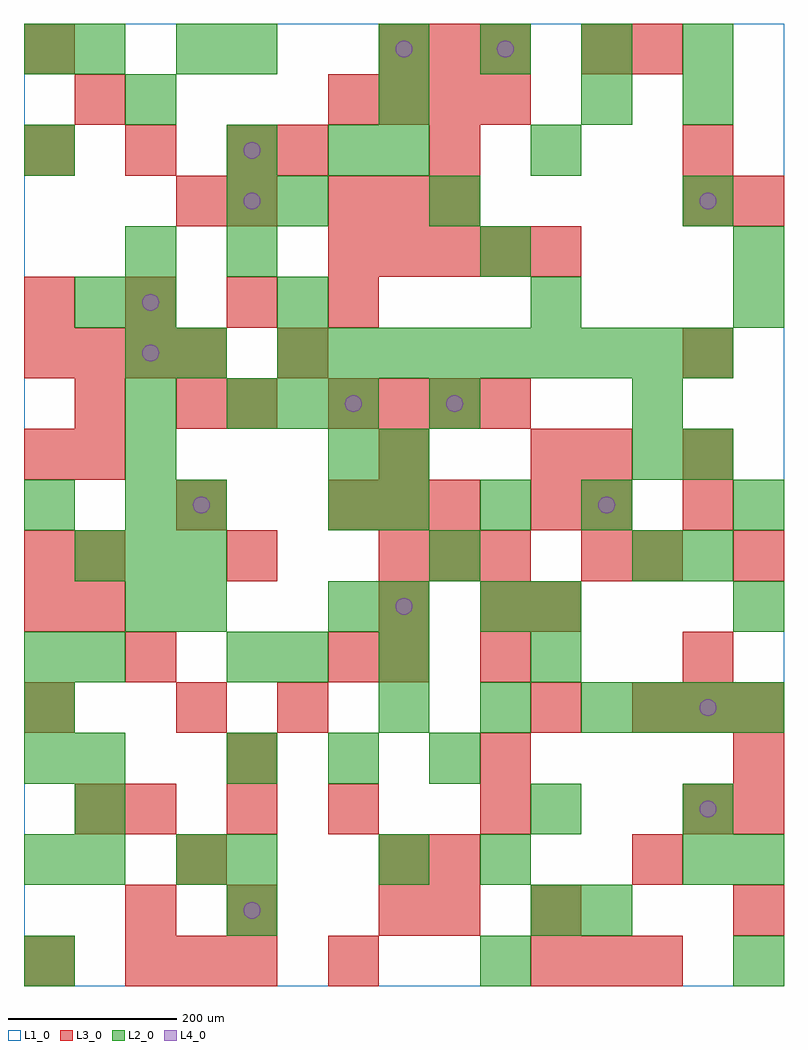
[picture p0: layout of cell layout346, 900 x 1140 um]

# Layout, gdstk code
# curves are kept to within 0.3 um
import gdstk
lib = gdstk.Library(unit=1e-6, precision=1e-09)
def R(c, l, rs):  # rectangles x0, y0, x1, y1
    for r in rs: c.add(gdstk.rectangle(r[:2], r[2:], *l))
def A(c, l, x, y, w, h, nx, ny, dx, dy):  # array of equal rectangles
    R(c, l, [(x+i*dx, y+j*dy, x+i*dx+w, y+j*dy+h) for i in range(nx) for j in range(ny)])
def P(c, l, *ps):  # polygons
    for p in ps: c.add(gdstk.Polygon(p, *l))
L1_0 = (1, 0)
L2_0 = (2, 0)
L3_0 = (3, 0)
L4_0 = (4, 0)

layout346 = lib.new_cell('layout346')
R(layout346, L1_0, [(0,0,900,1140)])
A(layout346, L2_0, 0, 0, 60, 60, 1, 3, 0, 120)
A(layout346, L2_0, 60, 120, 60, 60, 1, 3, 0, 60)
A(layout346, L2_0, 240, 240, 60, 60, 3, 1, 120, 0)
A(layout346, L2_0, 420, 300, 60, 60, 3, 2, 120, 240)
A(layout346, L2_0, 720, 300, 60, 60, 3, 1, 60, 0)
A(layout346, L2_0, 60, 480, 60, 60, 3, 1, 60, 0)
A(layout346, L2_0, 120, 540, 60, 60, 1, 6, 0, 60)
A(layout346, L2_0, 240, 660, 60, 60, 3, 1, 60, 0)
A(layout346, L2_0, 300, 720, 60, 60, 9, 1, 60, 0)
A(layout346, L2_0, 240, 840, 60, 60, 3, 1, 300, 0)
A(layout346, L2_0, 420, 1080, 60, 60, 4, 1, 120, 0)
R(layout346, L2_0, [(540,0,600,60), (840,0,900,60), (240,60,300,120), (600,60,660,120), (660,60,720,120), (180,120,240,180), (240,120,300,180), (420,120,480,180), (540,120,600,180), (780,120,840,180), (840,120,900,180), (600,180,660,240), (780,180,840,240), (0,300,60,360), (0,360,60,420), (60,360,120,420), (240,360,300,420), (300,360,360,420), (420,360,480,420), (600,360,660,420), (120,420,180,480), (180,420,240,480), (360,420,420,480), (420,420,480,480), (540,420,600,480), (600,420,660,480), (840,420,900,480), (480,480,540,540), (720,480,780,540), (780,480,840,540), (0,540,60,600), (180,540,240,600), (360,540,420,600), (840,540,900,600), (360,600,420,660), (420,600,480,660), (720,600,780,660), (780,600,840,660), (480,660,540,720), (720,660,780,720), (180,720,240,780), (60,780,120,840), (300,780,360,840), (600,780,660,840), (840,780,900,840), (240,900,300,960), (300,900,360,960), (480,900,540,960), (780,900,840,960), (0,960,60,1020), (240,960,300,1020), (360,960,420,1020), (420,960,480,1020), (600,960,660,1020), (120,1020,180,1080), (420,1020,480,1080), (660,1020,720,1080), (780,1020,840,1080), (0,1080,60,1140), (60,1080,120,1140), (180,1080,240,1140), (240,1080,300,1140)])
A(layout346, L3_0, 120, 0, 60, 60, 3, 1, 60, 0)
A(layout346, L3_0, 600, 0, 60, 60, 3, 1, 60, 0)
A(layout346, L3_0, 120, 180, 60, 60, 3, 1, 120, 0)
A(layout346, L3_0, 780, 180, 60, 60, 1, 3, 0, 180)
A(layout346, L3_0, 240, 240, 60, 60, 3, 1, 300, 0)
A(layout346, L3_0, 600, 300, 60, 60, 1, 3, 0, 120)
A(layout346, L3_0, 720, 300, 60, 60, 3, 1, 60, 0)
A(layout346, L3_0, 540, 360, 60, 60, 1, 3, 0, 60)
A(layout346, L3_0, 60, 480, 60, 60, 3, 1, 180, 0)
A(layout346, L3_0, 660, 480, 60, 60, 1, 3, 0, 60)
A(layout346, L3_0, 360, 540, 60, 60, 3, 2, 60, 360)
A(layout346, L3_0, 360, 660, 60, 60, 4, 2, 60, 360)
A(layout346, L3_0, 0, 720, 60, 60, 4, 1, 60, 0)
A(layout346, L3_0, 0, 780, 60, 60, 4, 1, 120, 0)
A(layout346, L3_0, 360, 840, 60, 60, 5, 1, 60, 0)
A(layout346, L3_0, 0, 960, 60, 60, 3, 1, 120, 0)
A(layout346, L3_0, 420, 1080, 60, 60, 3, 1, 60, 0)
R(layout346, L3_0, [(0,0,60,60), (360,0,420,60), (120,60,180,120), (240,60,300,120), (420,60,480,120), (480,60,540,120), (600,60,660,120), (840,60,900,120), (180,120,240,180), (420,120,480,180), (480,120,540,180), (720,120,780,180), (60,180,120,240), (540,180,600,240), (840,180,900,240), (0,300,60,360), (180,300,240,360), (300,300,360,360), (120,360,180,420), (360,360,420,420), (420,360,480,420), (0,420,60,480), (60,420,120,480), (420,420,480,480), (0,480,60,540), (480,480,540,540), (720,480,780,540), (840,480,900,540), (180,540,240,600), (0,600,60,660), (60,600,120,660), (420,600,480,660), (600,600,660,660), (780,600,840,660), (60,660,120,720), (180,660,240,720), (240,660,300,720), (300,720,360,780), (780,720,840,780), (180,900,240,960), (240,900,300,960), (780,900,840,960), (840,900,900,960), (300,960,360,1020), (480,960,540,1020), (780,960,840,1020), (60,1020,120,1080), (0,1080,60,1140), (660,1080,720,1140), (720,1080,780,1140)])
P(layout346, L4_0, [(160,750),(159.239,753.827),(157.071,757.071),(153.827,759.239),(150,760),(146.173,759.239),(142.929,757.071),(140.761,753.827),(140,750),(140.761,746.173),(142.929,742.929),(146.173,740.761),(150,740),(153.827,740.761),(157.071,742.929),(159.239,746.173)],
  [(160,810),(159.239,813.827),(157.071,817.071),(153.827,819.239),(150,820),(146.173,819.239),(142.929,817.071),(140.761,813.827),(140,810),(140.761,806.173),(142.929,802.929),(146.173,800.761),(150,800),(153.827,800.761),(157.071,802.929),(159.239,806.173)],
  [(220,570),(219.239,573.827),(217.071,577.071),(213.827,579.239),(210,580),(206.173,579.239),(202.929,577.071),(200.761,573.827),(200,570),(200.761,566.173),(202.929,562.929),(206.173,560.761),(210,560),(213.827,560.761),(217.071,562.929),(219.239,566.173)],
  [(280,90),(279.239,93.827),(277.071,97.071),(273.827,99.239),(270,100),(266.173,99.239),(262.929,97.071),(260.761,93.827),(260,90),(260.761,86.173),(262.929,82.929),(266.173,80.761),(270,80),(273.827,80.761),(277.071,82.929),(279.239,86.173)],
  [(280,930),(279.239,933.827),(277.071,937.071),(273.827,939.239),(270,940),(266.173,939.239),(262.929,937.071),(260.761,933.827),(260,930),(260.761,926.173),(262.929,922.929),(266.173,920.761),(270,920),(273.827,920.761),(277.071,922.929),(279.239,926.173)],
  [(280,990),(279.239,993.827),(277.071,997.071),(273.827,999.239),(270,1000),(266.173,999.239),(262.929,997.071),(260.761,993.827),(260,990),(260.761,986.173),(262.929,982.929),(266.173,980.761),(270,980),(273.827,980.761),(277.071,982.929),(279.239,986.173)],
  [(400,690),(399.239,693.827),(397.071,697.071),(393.827,699.239),(390,700),(386.173,699.239),(382.929,697.071),(380.761,693.827),(380,690),(380.761,686.173),(382.929,682.929),(386.173,680.761),(390,680),(393.827,680.761),(397.071,682.929),(399.239,686.173)],
  [(460,450),(459.239,453.827),(457.071,457.071),(453.827,459.239),(450,460),(446.173,459.239),(442.929,457.071),(440.761,453.827),(440,450),(440.761,446.173),(442.929,442.929),(446.173,440.761),(450,440),(453.827,440.761),(457.071,442.929),(459.239,446.173)],
  [(460,1110),(459.239,1113.827),(457.071,1117.071),(453.827,1119.239),(450,1120),(446.173,1119.239),(442.929,1117.071),(440.761,1113.827),(440,1110),(440.761,1106.173),(442.929,1102.929),(446.173,1100.761),(450,1100),(453.827,1100.761),(457.071,1102.929),(459.239,1106.173)],
  [(520,690),(519.239,693.827),(517.071,697.071),(513.827,699.239),(510,700),(506.173,699.239),(502.929,697.071),(500.761,693.827),(500,690),(500.761,686.173),(502.929,682.929),(506.173,680.761),(510,680),(513.827,680.761),(517.071,682.929),(519.239,686.173)],
  [(580,1110),(579.239,1113.827),(577.071,1117.071),(573.827,1119.239),(570,1120),(566.173,1119.239),(562.929,1117.071),(560.761,1113.827),(560,1110),(560.761,1106.173),(562.929,1102.929),(566.173,1100.761),(570,1100),(573.827,1100.761),(577.071,1102.929),(579.239,1106.173)],
  [(700,570),(699.239,573.827),(697.071,577.071),(693.827,579.239),(690,580),(686.173,579.239),(682.929,577.071),(680.761,573.827),(680,570),(680.761,566.173),(682.929,562.929),(686.173,560.761),(690,560),(693.827,560.761),(697.071,562.929),(699.239,566.173)],
  [(820,210),(819.239,213.827),(817.071,217.071),(813.827,219.239),(810,220),(806.173,219.239),(802.929,217.071),(800.761,213.827),(800,210),(800.761,206.173),(802.929,202.929),(806.173,200.761),(810,200),(813.827,200.761),(817.071,202.929),(819.239,206.173)],
  [(820,330),(819.239,333.827),(817.071,337.071),(813.827,339.239),(810,340),(806.173,339.239),(802.929,337.071),(800.761,333.827),(800,330),(800.761,326.173),(802.929,322.929),(806.173,320.761),(810,320),(813.827,320.761),(817.071,322.929),(819.239,326.173)],
  [(820,930),(819.239,933.827),(817.071,937.071),(813.827,939.239),(810,940),(806.173,939.239),(802.929,937.071),(800.761,933.827),(800,930),(800.761,926.173),(802.929,922.929),(806.173,920.761),(810,920),(813.827,920.761),(817.071,922.929),(819.239,926.173)])

lib.write_gds('layout346.gds')
